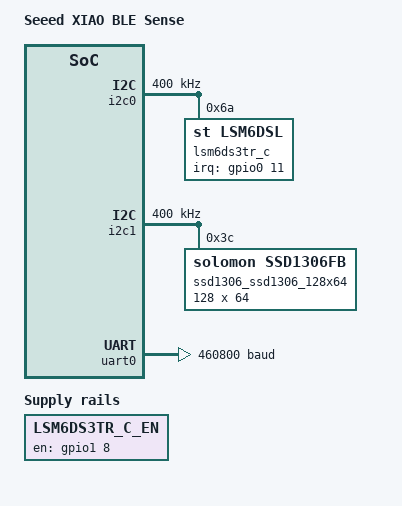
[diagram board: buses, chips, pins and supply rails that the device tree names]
/*
 * Copyright (c) 2022-2023 Marcin Niestroj
 *
 * SPDX-License-Identifier: Apache-2.0
 */

// /dts-v1/;
#include "xiao_ble_common.dtsi"
#include <zephyr/dt-bindings/i2c/i2c.h>
#include <zephyr/dt-bindings/gpio/nordic-nrf-gpio.h>

/ {
	model = "Seeed XIAO BLE Sense";
	compatible = "seeed,xiao-ble", "seeed,xiao-ble-sense";

	lsm6ds3tr-c-en {
		compatible = "regulator-fixed-sync", "regulator-fixed";
		enable-gpios = <&gpio1 8 (NRF_GPIO_DRIVE_S0H1 | GPIO_ACTIVE_HIGH)>;
		regulator-name = "LSM6DS3TR_C_EN";
		regulator-boot-on;
		startup-delay-us = <3000>;
	};

	chosen {
		zephyr,display = &ssd1306_ssd1306_128x64;
	};
};

&i2c0 {
	compatible = "nordic,nrf-twim";
	/* Cannot be used together with spi0. */
	status = "okay";
	pinctrl-0 = <&i2c0_default>;
	pinctrl-1 = <&i2c0_sleep>;
	pinctrl-names = "default", "sleep";
	clock-frequency = <I2C_BITRATE_FAST>;

	lsm6ds3tr_c: lsm6ds3tr-c@6a {
		compatible = "st,lsm6dsl";
		reg = <0x6a>;
		irq-gpios = <&gpio0 11 GPIO_ACTIVE_HIGH>;
		status = "okay";
	};
};

arduino_i2c: &i2c1 {
	clock-frequency = <I2C_BITRATE_FAST>;
};

&arduino_i2c {
	status = "okay";

	ssd1306_ssd1306_128x64: ssd1306@3c {
		compatible = "solomon,ssd1306fb";
		reg = <0x3c>;
		width = <128>;
		height = <64>;
		segment-offset = <0>;
		page-offset = <0>;
		display-offset = <0>;
		multiplex-ratio = <63>;
		segment-remap;
		com-invdir;
		prechargep = <0x22>;
	};

	clock-frequency = <I2C_BITRATE_FAST>;
};

&temp {
	status = "disabled";
};
	
&uart0 {
	current-speed = <460800>;
};
